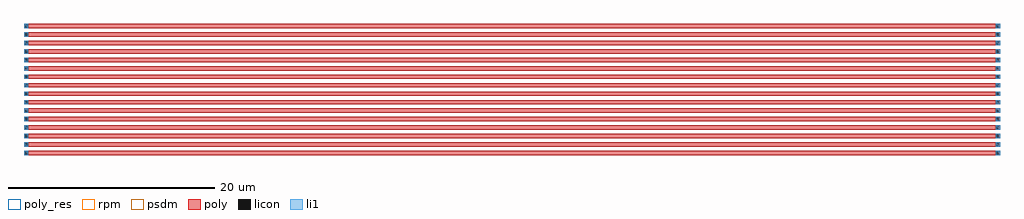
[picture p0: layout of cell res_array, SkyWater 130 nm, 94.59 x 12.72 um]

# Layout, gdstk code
import gdstk
lib = gdstk.Library(unit=1e-6, precision=1e-09)
def R(c, l, rs):  # rectangles x0, y0, x1, y1
    for r in rs: c.add(gdstk.rectangle(r[:2], r[2:], *l))
def A(c, l, x, y, w, h, nx, ny, dx, dy):  # array of equal rectangles
    R(c, l, [(x+i*dx, y+j*dy, x+i*dx+w, y+j*dy+h) for i in range(nx) for j in range(ny)])
poly_res = (66, 13)
poly = (66, 20)
licon = (66, 44)
li1 = (67, 20)
rpm = (86, 20)
psdm = (94, 20)

res_array = lib.new_cell('res_array')
A(res_array, poly_res, 0.42, 0, 93.75, 0.42, 1, 16, 0, 0.82)
A(res_array, poly, 0, 0, 94.59, 0.42, 1, 16, 0, 0.82)
A(res_array, licon, 0.1, 0.1, 0.22, 0.22, 1, 16, 0, 0.82)
A(res_array, licon, 94.27, 0.1, 0.22, 0.22, 1, 16, 0, 0.82)
A(res_array, li1, 0, 0, 0.42, 0.42, 1, 16, 0, 0.82)
A(res_array, li1, 94.17, 0, 0.42, 0.42, 1, 16, 0, 0.82)
A(res_array, rpm, 0.42, 0, 93.75, 0.42, 1, 16, 0, 0.82)
A(res_array, psdm, 0.42, 0, 93.75, 0.42, 1, 16, 0, 0.82)

lib.write_gds('res_array.gds')
